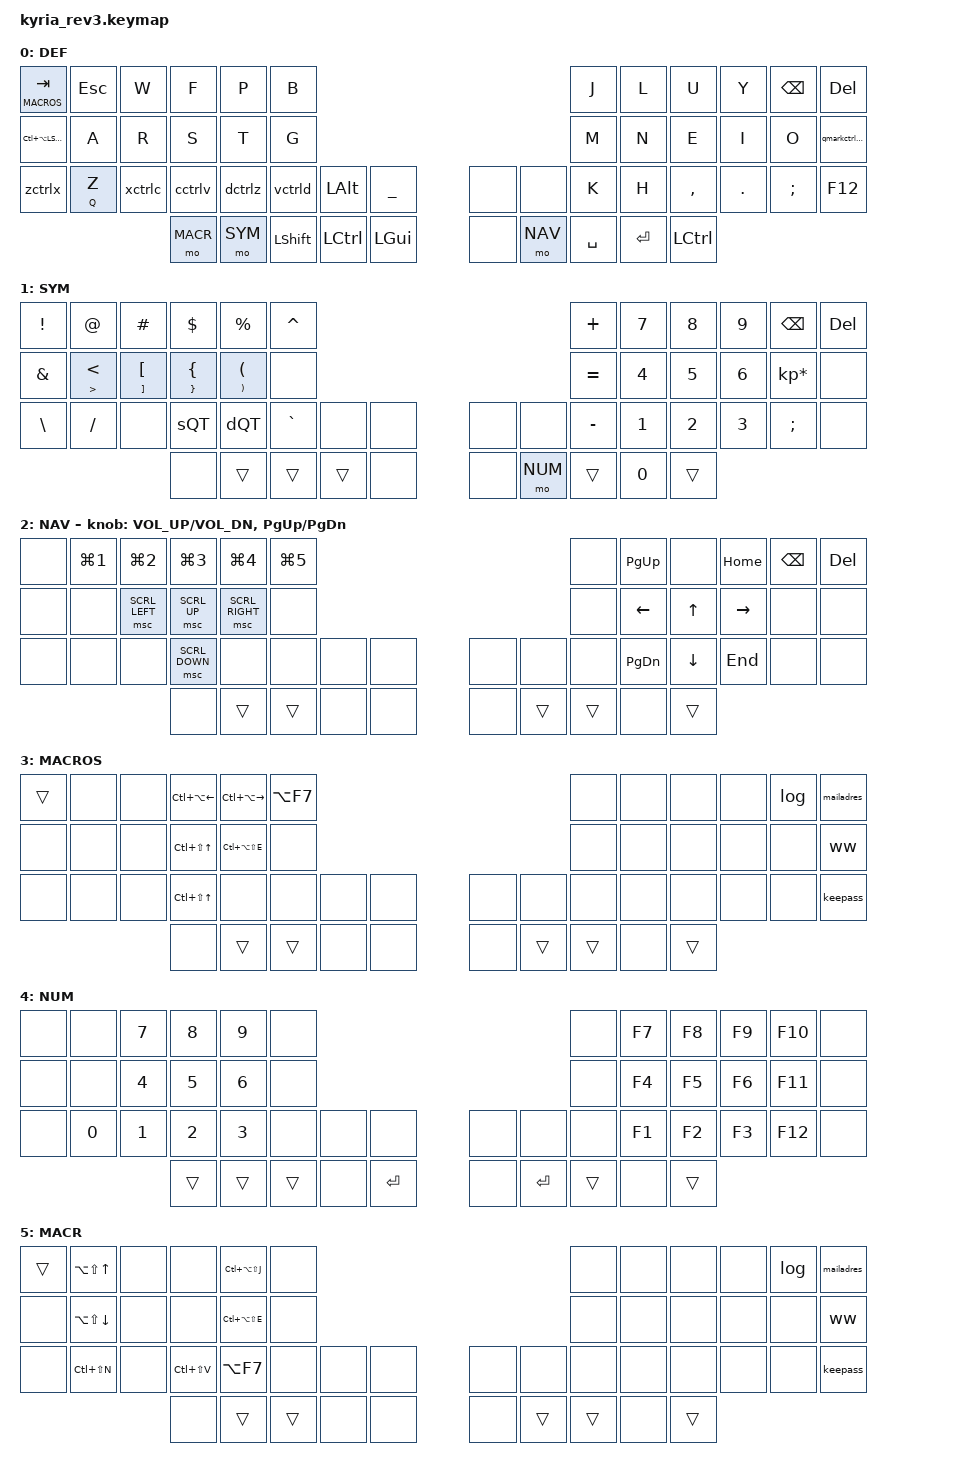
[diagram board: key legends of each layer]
#include <behaviors.dtsi>
#include <dt-bindings/zmk/bt.h>
#include <dt-bindings/zmk/keys.h>
#include <dt-bindings/zmk/pointing.h>
#include "zmk-helpers/helper.h"
#include "zmk-helpers/key-labels/kyria.h"

#include "combos.dtsi" // Must be sourced after HRM-combo hack.

&spi3 {
    status = "disabled";
};

// Layers

#define DEF 0
#define SYM 1
#define NAV 2
#define MACROS 3
#define NUM 4
#define MACR 5

// Keycodes

#define xxx &none
#define ___ &trans


/*     CONFIG     */

// Layer tap
#define QUICK_TAP_MS 175
&lt {
  flavor = "balanced";
  tapping-term-ms = <200>;
  quick-tap-ms = <QUICK_TAP_MS>;
};
#include "combos.dtsi" // Must be sourced after HRM-combo hack.

// Trigger tap-action on all interrupts.
#define MT_CORE                                                                \
  flavor = "tap-preferred";                                                    \
  tapping-term-ms = <220>;                                                     \
  quick-tap-ms = <220>;                                                        \
  hold-trigger-key-positions = <0>;

&mt { MT_CORE };

/ {
    behaviors {
        dctrlz: d_ctrl_z {
            compatible = "zmk,behavior-mod-morph";
            #binding-cells = <0>;
            bindings = <&kp D>, <&kp Z>;
            mods = <(MOD_LCTL|MOD_RCTL)>;
            keep-mods = <(MOD_LCTL)>;
        };
        vctrld: v_ctrl_d {
            compatible = "zmk,behavior-mod-morph";
            #binding-cells = <0>;
            bindings = <&kp V>, <&kp D>;
            mods = <(MOD_LCTL|MOD_RCTL)>;
            keep-mods = <(MOD_LCTL)>;
        };
        zctrlx: z_ctrl_x {
            compatible = "zmk,behavior-mod-morph";
            #binding-cells = <0>;
            bindings = <&kp Z>, <&kp X>;
            mods = <(MOD_LCTL|MOD_RCTL)>;
            keep-mods = <(MOD_LCTL)>;
        };
        cctrlv: c_ctrl_v {
            compatible = "zmk,behavior-mod-morph";
            #binding-cells = <0>;
            bindings = <&kp C>, <&kp V>;
            mods = <(MOD_LCTL|MOD_RCTL)>;
            keep-mods = <(MOD_LCTL)>;
        };
        xctrlc: x_ctrl_c {
            compatible = "zmk,behavior-mod-morph";
            #binding-cells = <0>;
            bindings = <&kp X>, <&kp C>;
            mods = <(MOD_LCTL|MOD_RCTL)>;
            keep-mods = <(MOD_LCTL)>;
        };
        qmarkctrlcmnt: qmark_ctrl_comment {
            compatible = "zmk,behavior-mod-morph";
            #binding-cells = <0>;
            bindings = <&kp QMARK>, <&kp SLASH>;
            mods = <(MOD_LCTL|MOD_RCTL)>;
            keep-mods = <(MOD_LCTL)>;
        }; // questionmark, ctrl comment
    };
};

/ {
    keymap {
        compatible = "zmk,keymap";

        DEF {
            bindings = <
                //╭───────────────┬───────────────┬───────────┬───────────┬───────────┬───────────╮                                                               ╭───────────┬───────────────┬───────────┬───────────┬───────────┬───────────╮
                    &lt MACROS TAB  &kp ESC         &kp W       &kp F       &kp P       &kp B                                                                       &kp J       &kp L           &kp U       &kp Y       &kp BSPC    &kp DEL
                //├───────────────┼───────────────┼───────────┼───────────┼───────────┼───────────┤                                                               ├───────────┼───────────────┼───────────┼───────────┼───────────┼───────────┤
                    &kp LC(LA(LSHFT)) &kp A           &kp R       &kp S       &kp T       &kp G                                                                       &kp M       &kp N           &kp E       &kp I       &kp O       &qmarkctrlcmnt
                //├───────────────┼───────────────┼───────────┼───────────┼───────────┼───────────┼───────────┬──────────────────╮    ╭───────────┬───────────────┼───────────┼───────────────┼───────────┼───────────┼───────────┼───────────┤
                    &zctrlx         &mt Q Z         &xctrlc     &cctrlv     &dctrlz     &vctrld     &kp LALT    &kp UNDER               xxx         xxx             &kp K       &kp H           &kp COMMA   &kp DOT     &kp SEMI    &kp F12
                //╰───────────────┴───────────────┴───────────┼───────────┼───────────┼───────────┼───────────┼──────────────────┤    ├───────────┼───────────────┼───────────┼───────────────┼───────────┼───────────┴───────────┴───────────╯
                                                                &mo MACR    &mo SYM     &kp LSHFT   &kp LCTRL   &kp LGUI                xxx         &mo NAV         &kp SPACE   &kp ENTER       &kp LCTRL
                //                                            ╰───────────┴───────────┴───────────┴───────────┴──────────────────╯    ╰───────────┴───────────────┴───────────┴───────────────┴───────────╯
            >;
        };
        

        SYM { // symbols, layer 1
            bindings = <
                //╭───────────────┬───────────┬───────────┬───────────┬───────────┬───────────╮                                                       ╭───────────┬───────────┬───────────┬───────────┬───────────┬───────────╮
                    &kp EXCL        &kp AT      &kp HASH    &kp DLLR    &kp PRCNT   &kp CARET                                                           &kp PLUS    &kp N7      &kp N8      &kp N9      &kp BSPC    &kp DEL
                //├───────────────┼───────────┼───────────┼───────────┼───────────┼───────────┤                                                       ├───────────┼───────────┼───────────┼───────────┼───────────┼───────────┤
                    &kp AMPS        &mt GT LT   &mt RBKT LBKT &mt RBRC LBRC &mt RPAR LPAR  xxx                                                          &kp EQUAL   &kp N4      &kp N5      &kp N6      &kp KP_ASTERISK  xxx
                //├───────────────┼───────────┼───────────┼───────────┼───────────┼───────────┼───────────┬───────────╮   ╭───────────┬───────────────┼───────────┼───────────┼───────────┼───────────┼───────────┼───────────┤
                    &kp BSLH        &kp SLASH   xxx         &sQT         &dQT        &kp GRAVE   xxx         xxx             xxx         xxx             &kp MINUS   &kp N1      &kp N2      &kp N3      &kp SEMI    xxx
                //╰───────────────┴───────────┴───────────┼───────────┼───────────┼───────────┼───────────┼───────────┤   ├───────────┼───────────────┼───────────┼───────────┼───────────┼───────────┴───────────┴───────────╯
                                                            xxx         ___         ___         ___         xxx             xxx         &mo NUM          ___         &kp N0         ___
                //                                        ╰───────────┴───────────┴───────────┴───────────┴───────────╯   ╰───────────┴───────────────┴───────────┴───────────┴───────────╯
            >;
        };

        NAV { // navigation, layer 2
            bindings = <
                //╭───────────────┬───────────┬───────────────┬───────────────┬───────────────┬───────────╮                                                       ╭───────────┬───────────┬───────────┬───────────┬───────────┬───────────╮
                    xxx             &kp LG(NUMBER_1) &kp LG(NUMBER_2) &kp LG(NUMBER_3) &kp LG(NUMBER_4) &kp LG(NUMBER_5)                                            xxx         &kp PG_UP   xxx         &kp HOME    &kp BSPC    &kp DEL
                //├───────────────┼───────────┼───────────────┼───────────────┼───────────────┼───────────┤                                                       ├───────────┼───────────┼───────────┼───────────┼───────────┼───────────┤
                    xxx             xxx         &msc SCRL_LEFT  &msc SCRL_UP    &msc SCRL_RIGHT  xxx                                                                xxx         &kp LEFT    &kp UP      &kp RIGHT   xxx         xxx
                //├───────────────┼───────────┼───────────────┼───────────────┼───────────────┼───────────┼───────────┬───────────╮   ╭───────────┬───────────────┼───────────┼───────────┼───────────┼───────────┼───────────┼───────────┤
                    xxx             xxx         xxx             &msc SCRL_DOWN  xxx             xxx         xxx         xxx             xxx         xxx             xxx         &kp PG_DN   &kp DOWN    &kp END     xxx         xxx
                //╰───────────────┴───────────┴───────────────┼───────────────┼───────────────┼───────────┼───────────┼───────────┤   ├───────────┼───────────────┼───────────┼───────────┼───────────┼───────────┴───────────┴───────────╯
                                                                xxx             ___             ___         xxx         xxx             xxx         ___             ___         xxx         ___
                //                                            ╰───────────────┴───────────────┴───────────┴───────────┴───────────╯   ╰───────────┴───────────────┴───────────┴───────────┴───────────╯
            >;

            sensor-bindings = <&inc_dec_kp C_VOL_UP C_VOL_DN &inc_dec_kp PG_UP PG_DN>;
        };

        MACROS { // macros, layer 3
            bindings = <
                //╭───────────────┬───────────┬───────────┬──────────────────┬───────────────────┬───────────╮                                                       ╭───────────┬───────────┬───────────┬───────────┬───────────┬───────────╮
                    ___             xxx         xxx         &kp LC(LA(LEFT))    &kp LC(LA(RIGHT))   &kp LA(F7)                                                          xxx         xxx         xxx         xxx         &log       &mailadres
                //├───────────────┼───────────┼───────────┼──────────────────┼───────────────────┼───────────┤                                                       ├───────────┼───────────┼───────────┼───────────┼───────────┼───────────┤
                    xxx             xxx         xxx         &kp LC(LS(UP))      &kp LC(LA(LS(E)))   xxx                                                                 xxx         xxx         xxx         xxx         xxx         &ww
                //├───────────────┼───────────┼───────────┼──────────────────┼───────────────────┼───────────┼───────────┬───────────╮   ╭───────────┬───────────────┼───────────┼───────────┼───────────┼───────────┼───────────┼───────────┤
                    xxx             xxx         xxx         &kp LC(LS(UP))      xxx                 xxx         xxx         xxx             xxx         xxx             xxx         xxx         xxx         xxx         xxx        &keepass
                //╰───────────────┴───────────┴───────────┼──────────────────┼───────────────────┼───────────┼───────────┼───────────┤   ├───────────┼───────────────┼───────────┼───────────┼───────────┼───────────┴───────────┴───────────╯
                                                            xxx                 ___                 ___         xxx         xxx             xxx         ___             ___         xxx         ___
                //                                        ╰──────────────────┴───────────────────┴───────────┴───────────┴───────────╯   ╰───────────┴───────────────┴───────────┴───────────┴───────────╯
                // ctrl shift up/down, ctrl alt shift e
            >;
        };

        NUM { // numbers, layer 4
            bindings = <
                //╭───────────────┬───────────┬───────────┬───────────┬───────────┬───────────╮                                                       ╭───────────┬───────────┬───────────┬───────────┬───────────┬───────────╮
                    xxx             xxx         &kp N7      &kp N8      &kp N9       xxx                                                                xxx         &kp F7      &kp F8      &kp F9      &kp F10     xxx
                //├───────────────┼───────────┼───────────┼───────────┼───────────┼───────────┤                                                       ├───────────┼───────────┼───────────┼───────────┼───────────┼───────────┤
                    xxx             xxx         &kp N4      &kp N5      &kp N6       xxx                                                                xxx         &kp F4      &kp F5      &kp F6      &kp F11     xxx
                //├───────────────┼───────────┼───────────┼───────────┼───────────┼───────────┼───────────┬───────────╮   ╭───────────┬───────────────┼───────────┼───────────┼───────────┼───────────┼───────────┼───────────┤
                    xxx             &kp N0      &kp N1      &kp N2      &kp N3       xxx        xxx         xxx             xxx         xxx             xxx         &kp F1      &kp F2      &kp F3      &kp F12     xxx
                //╰───────────────┴───────────┴───────────┼───────────┼───────────┼───────────┼───────────┼───────────┤   ├───────────┼───────────────┼───────────┼───────────┼───────────┼───────────┴───────────┴───────────╯
                                                            ___         ___         ___         xxx         &kp ENTER       xxx         &kp ENTER       ___         xxx         ___
                //                                        ╰───────────┴───────────┴───────────┴───────────┴───────────╯   ╰───────────┴───────────────┴───────────┴───────────┴───────────╯
            >;
        };

        MACR { // macros, layer 5
            bindings = <
                //╭───────────────┬───────────┬───────────┬──────────────────┬───────────────────┬───────────╮                                                       ╭───────────┬───────────┬───────────┬───────────┬───────────┬───────────╮
                    ___             &kp LA(LS(UP)) xxx      xxx                 &kp LC(LA(LS(J)))   xxx                                                                  xxx         xxx         xxx         xxx         &log       &mailadres
                //├───────────────┼───────────┼───────────┼──────────────────┼───────────────────┼───────────┤                                                       ├───────────┼───────────┼───────────┼───────────┼───────────┼───────────┤
                    xxx             &kp LA(LS(DOWN)) xxx    xxx                 &kp LC(LA(LS(E)))   xxx                                                                 xxx         xxx         xxx         xxx         xxx         &ww
                //├───────────────┼───────────┼───────────┼──────────────────┼───────────────────┼───────────┼───────────┬───────────╮   ╭───────────┬───────────────┼───────────┼───────────┼───────────┼───────────┼───────────┼───────────┤
                    xxx             &kp LC(LS(N)) xxx       &kp LC(LS(V))      &kp LA(F7)          xxx         xxx         xxx             xxx         xxx             xxx         xxx         xxx         xxx         xxx        &keepass
                //╰───────────────┴───────────┴───────────┼──────────────────┼───────────────────┼───────────┼───────────┼───────────┤   ├───────────┼───────────────┼───────────┼───────────┼───────────┼───────────┴───────────┴───────────╯
                                                            xxx                 ___                 ___         xxx         xxx             xxx         ___             ___         xxx         ___
                //                                        ╰──────────────────┴───────────────────┴───────────┴───────────┴───────────╯   ╰───────────┴───────────────┴───────────┴───────────┴───────────╯
                // ctrl shift up/down, ctrl alt shift e
            >;
        };
    };
};
